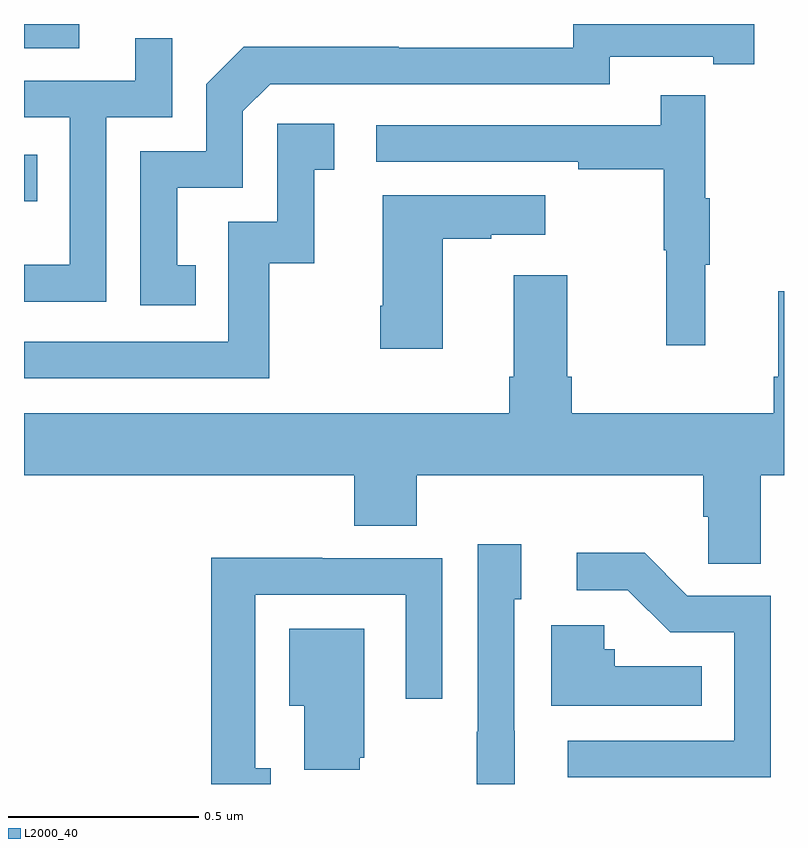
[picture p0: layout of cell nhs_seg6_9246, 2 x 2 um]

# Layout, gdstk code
import gdstk
lib = gdstk.Library(unit=1e-6, precision=1e-09)
def R(c, l, rs):  # rectangles x0, y0, x1, y1
    for r in rs: c.add(gdstk.rectangle(r[:2], r[2:], *l))
def P(c, l, *ps):  # polygons
    for p in ps: c.add(gdstk.Polygon(p, *l))
L2000_40 = (2000, 40)

nhs_seg6_9246 = lib.new_cell('nhs_seg6_9246')
R(nhs_seg6_9246, L2000_40, [(231,972.033,231.035,972.156), (231,972.436,231.145,972.5)])
P(nhs_seg6_9246, L2000_40, [(231.452,971.865),(231.403,971.865),(231.403,972.069),(231.576,972.069),(231.576,972.27),(231.648,972.342),(232.542,972.342),(232.542,972.414),(232.814,972.414),(232.814,972.394),(232.922,972.394),(232.922,972.5),(232.446,972.5),(232.446,972.438),(231.986,972.438),(231.986,972.44),(231.578,972.44),(231.48,972.342),(231.48,972.165),(231.306,972.165),(231.306,971.76),(231.452,971.76)],
  [(231.216,972.255),(231.39,972.255),(231.39,972.463),(231.293,972.463),(231.293,972.351),(231,972.351),(231,972.255),(231.12,972.255),(231.12,971.866),(231,971.866),(231,971.769),(231.216,971.769)],
  [(232.793,971.867),(232.804,971.867),(232.804,972.041),(232.793,972.041),(232.793,972.313),(232.675,972.313),(232.675,972.234),(231.927,972.234),(231.927,972.138),(232.459,972.138),(232.459,972.118),(232.683,972.118),(232.683,971.904),(232.69,971.904),(232.69,971.655),(232.793,971.655)],
  [(231.646,971.871),(231.764,971.871),(231.764,972.117),(231.817,972.117),(231.817,972.238),(231.666,972.238),(231.666,971.979),(231.537,971.979),(231.537,971.664),(231,971.664),(231,971.568),(231.646,971.568)],
  [(232.102,971.935),(232.229,971.935),(232.229,971.945),(232.372,971.945),(232.372,972.049),(231.944,972.049),(231.944,971.758),(231.937,971.758),(231.937,971.646),(232.102,971.646)],
  [(232.939,971.312),(233,971.312),(233,971.797),(232.985,971.797),(232.985,971.572),(232.973,971.572),(232.973,971.476),(232.442,971.476),(232.442,971.572),(232.429,971.572),(232.429,971.839),(232.289,971.839),(232.289,971.572),(232.277,971.572),(232.277,971.476),(231,971.476),(231,971.312),(231.869,971.312),(231.869,971.179),(232.034,971.179),(232.034,971.312),(232.787,971.312),(232.787,971.203),(232.8,971.203),(232.8,971.08),(232.939,971.08)],
  [(232.291,970.64),(232.29,970.64),(232.29,970.986),(232.309,970.986),(232.309,971.131),(232.194,971.131),(232.194,970.637),(232.192,970.637),(232.192,970.5),(232.291,970.5)],
  [(232.965,970.995),(232.746,970.995),(232.633,971.108),(232.455,971.108),(232.455,971.01),(232.589,971.01),(232.7,970.899),(232.869,970.899),(232.869,970.614),(232.431,970.614),(232.431,970.518),(232.965,970.518)],
  [(231.649,970.542),(231.609,970.542),(231.609,970.998),(232.005,970.998),(232.005,970.725),(232.101,970.725),(232.101,971.094),(231.785,971.094),(231.785,971.096),(231.493,971.096),(231.493,970.5),(231.649,970.5)],
  [(232.784,970.81),(232.554,970.81),(232.554,970.854),(232.527,970.854),(232.527,970.918),(232.388,970.918),(232.388,970.706),(232.784,970.706)],
  [(231.884,970.569),(231.895,970.569),(231.895,970.909),(231.698,970.909),(231.698,970.706),(231.737,970.706),(231.737,970.538),(231.884,970.538)])

lib.write_gds('nhs_seg6_9246.gds')
